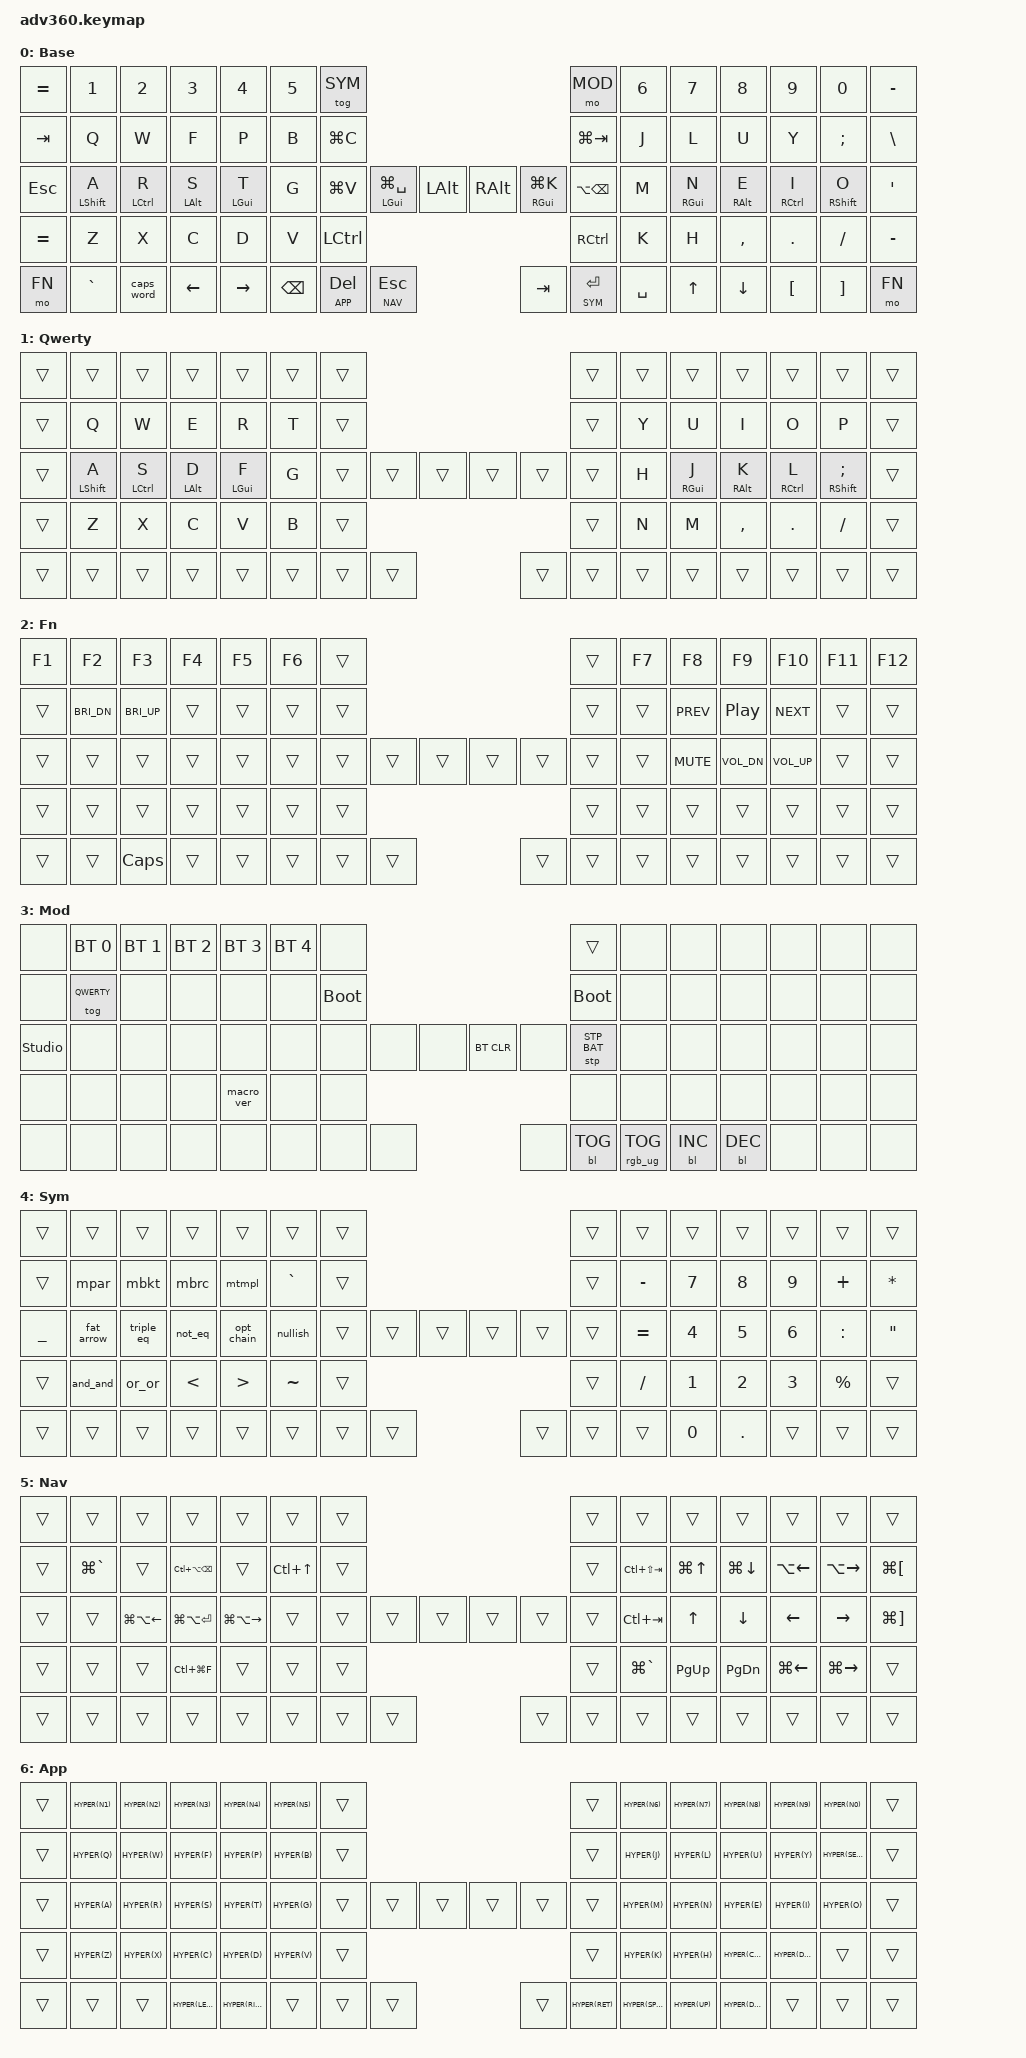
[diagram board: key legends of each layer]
#include <behaviors.dtsi>
#include <dt-bindings/zmk/keys.h>
#include <dt-bindings/zmk/bt.h>
#include <dt-bindings/zmk/rgb.h>
#include <dt-bindings/zmk/stp.h>
#include <dt-bindings/zmk/backlight.h>
#include <dt-bindings/zmk/pointing.h>

/* Layer indices. Kinesis layer LED colors follow the index. */
/* Mod stays at index 3 and Fn at 2, where the Kinesis firmware and manual put them.
 * Qwerty sits below every hold layer so Mod+Q can always toggle it off. */
#define BASE   0
#define QWERTY 1
#define FN     2
#define MOD    3
#define SYM    4
#define NAV    5
#define APP    6

#define ___ &trans
#define XXX &none

/* Window actions: Maximize is Rectangle's Cmd+Opt+Return; Full Screen is macOS's
 * native Ctrl+Cmd+F. Restore and display moves keep their existing shortcuts. */
#define WIN_MAX &kp LG(LA(RET))
#define WIN_FULLSCREEN &kp LC(LG(F))
#define WIN_RESTORE &kp LC(LA(BSPC))
#define WIN_PREV_DISPLAY &kp LG(LA(LEFT))
#define WIN_NEXT_DISPLAY &kp LG(LA(RIGHT))

/* Key position groups for positional hold-taps (assets/key-positions.md). */
#define KEYS_L 0 1 2 3 4 5 6 14 15 16 17 18 19 20 28 29 30 31 32 33 34 46 47 48 49 50 51 60 61 62 63 64
#define KEYS_R 7 8 9 10 11 12 13 21 22 23 24 25 26 27 39 40 41 42 43 44 45 54 55 56 57 58 59 71 72 73 74 75
#define THUMBS 35 36 37 38 52 53 65 66 67 68 69 70

/* Row layout per layer (key positions):
 *   0-6           | 7-13
 *   14-20         | 21-27
 *   28-34  35 36 37 38  39-45
 *   46-51  52 53        54-59
 *   60-64  65 66 67 68 69 70  71-75
 */

/ {
    behaviors {
      #include "macros.dtsi"
      #include "version.dtsi"
      #include "symbols.dtsi"

      /* Thumb layer keys: tap = key, hold = layer. Balanced so that
       * pressing and releasing another key during the hold picks the layer. */
      /* Cmd thumb keys (outer top on each side): hold = Cmd, tap = a Cmd shortcut. hold-while-undecided keeps
       * Cmd visible to macOS at once, so Cmd+click and Cmd+drag work. Linger keeps
       * one continuous Cmd press across the tap. */
      mtc: mod_tap_cmd {
          compatible = "zmk,behavior-hold-tap";
          #binding-cells = <2>;
          tapping-term-ms = <200>;
          quick-tap-ms = <175>;
          flavor = "hold-preferred";
          hold-while-undecided;
          hold-while-undecided-linger;
          bindings = <&kp>, <&kp>;
      };

      /* Home-row mods, "timeless" style: balanced flavor, long tapping term, and a hold only
       * triggers when the next key is on the other hand or a thumb. Same-hand rolls stay taps.
       * hml = a mod on the left hand (triggers on right-hand keys), hmr = the mirror. */
      hml: home_row_mod_left {
          compatible = "zmk,behavior-hold-tap";
          #binding-cells = <2>;
          flavor = "balanced";
          tapping-term-ms = <280>;
          quick-tap-ms = <175>;
          require-prior-idle-ms = <150>;
          hold-trigger-key-positions = <KEYS_R THUMBS>;
          hold-trigger-on-release;
          bindings = <&kp>, <&kp>;
      };

      hmr: home_row_mod_right {
          compatible = "zmk,behavior-hold-tap";
          #binding-cells = <2>;
          flavor = "balanced";
          tapping-term-ms = <280>;
          quick-tap-ms = <175>;
          require-prior-idle-ms = <150>;
          hold-trigger-key-positions = <KEYS_L THUMBS>;
          hold-trigger-on-release;
          bindings = <&kp>, <&kp>;
      };

      lth: layer_tap_hold {
          compatible = "zmk,behavior-hold-tap";
          #binding-cells = <2>;
          tapping-term-ms = <200>;
          quick-tap-ms = <175>;
          flavor = "balanced";
          bindings = <&mo>, <&kp>;
      };
    };

  keymap {
    compatible = "zmk,keymap";

    default_layer {
      display-name = "Base";
      bindings = <
        &kp EQUAL &kp N1    &kp N2     &kp N3   &kp N4    &kp N5 &tog SYM                                                                                  &mo MOD &kp N6 &kp N7 &kp N8    &kp N9   &kp N0   &kp MINUS
        &kp TAB   &kp Q     &kp W      &kp F    &kp P     &kp B  &kp LG(C)                                                                                      &kp LG(TAB) &kp J  &kp L  &kp U     &kp Y    &kp SEMI &kp BSLH
        &kp ESC   &hml LSHFT A &hml LCTRL R &hml LALT S &hml LGUI T &kp G  &kp LG(V)           &mtc LGUI LG(SPACE) &kp LALT      &kp RALT      &mtc RGUI LG(K)              &kp LA(BSPC) &kp M  &hmr RGUI N &hmr RALT E &hmr RCTRL I &hmr RSHFT O &kp SQT
        &kp EQUAL &kp Z     &kp X      &kp C    &kp D     &kp V                          &kp LCTRL                &kp RCTRL                                         &kp K  &kp H  &kp COMMA &kp DOT  &kp FSLH &kp MINUS
        &mo FN    &kp GRAVE &caps_word &kp LEFT &kp RIGHT               &kp BSPC &lth APP DEL &lth NAV ESC &kp TAB &lth SYM ENTER &kp SPACE                                &kp UP &kp DOWN  &kp LBKT &kp RBKT &mo FN
      >;
    };

    qwerty {
      display-name = "Qwerty";
      bindings = <
        ___ ___   ___   ___   ___   ___   ___                                                   ___ ___   ___   ___       ___     ___      ___
        ___ &kp Q &kp W &kp E &kp R &kp T ___                                                   ___ &kp Y &kp U &kp I     &kp O   &kp P    ___
        ___ &hml LSHFT A &hml LCTRL S &hml LALT D &hml LGUI F &kp G ___           ___ ___ ___ ___                         ___ &kp H &hmr RGUI J &hmr RALT K &hmr RCTRL L &hmr RSHFT SEMI ___
        ___ &kp Z &kp X &kp C &kp V &kp B                     ___ ___                               &kp N &kp M &kp COMMA &kp DOT &kp FSLH ___
        ___ ___   ___   ___   ___               ___ ___ ___ ___ ___ ___                                   ___   ___       ___     ___      ___
      >;
    };

    fn {
      display-name = "Fn";
      bindings = <
        &kp F1 &kp F2       &kp F3       &kp F4 &kp F5 &kp F6 ___                                                   ___ &kp F7     &kp F8       &kp F9       &kp F10 &kp F11 &kp F12
        ___    &kp C_BRI_DN &kp C_BRI_UP ___    ___    ___    ___                                                   ___ ___        &kp C_PREV   &kp C_PP     &kp C_NEXT ___  ___
        ___    ___          ___          ___    ___    ___    ___           ___ ___ ___ ___                         ___ ___        &kp C_MUTE   &kp C_VOL_DN &kp C_VOL_UP ___ ___
        ___    ___          ___          ___    ___    ___                        ___ ___                               ___        ___          ___          ___     ___     ___
        ___    ___          &kp CAPS     ___    ___                 ___ ___ ___ ___ ___ ___                                        ___          ___          ___     ___     ___
      >;
    };

    mod {
      display-name = "Mod";
      bindings = <
        &none &bt BT_SEL 0 &bt BT_SEL 1 &bt BT_SEL 2 &bt BT_SEL 3 &bt BT_SEL 4 &none                                                                     &trans                 &none        &none        &none        &none &none &none
        &none &tog QWERTY  &none        &none        &none        &none        &bootloader                                                               &bootloader            &none        &none        &none        &none &none &none
        &studio_unlock &none        &none        &none        &none        &none        &none                   &none &none &bt BT_CLR &none                      &stp STP_BAT &none        &none        &none        &none &none &none
        &none &none        &none        &none        &macro_ver   &none                                      &none &none                                                        &none        &none        &none        &none &none &none
        &none &none        &none        &none        &none                                       &none &none &none &none      &bl BL_TOG &rgb_ug RGB_TOG                                     &bl BL_INC   &bl BL_DEC   &none &none &none
      >;
    };

    sym {
      display-name = "Sym";
      bindings = <
        ___       ___        ___        ___     ___        ___       ___                                                   ___ ___       ___    ___    ___    ___       ___
        ___       &mpar      &mbkt      &mbrc   &mtmpl     &kp GRAVE ___                                                   ___ &kp MINUS &kp N7 &kp N8 &kp N9 &kp PLUS  &kp ASTRK
        &kp UNDER &fat_arrow &triple_eq &not_eq &opt_chain &nullish  ___           ___ ___ ___ ___                         ___ &kp EQUAL &kp N4 &kp N5 &kp N6 &kp COLON &kp DQT
        ___       &and_and   &or_or     &kp LT  &kp GT     &kp TILDE                    ___ ___                                &kp FSLH  &kp N1 &kp N2 &kp N3 &kp PRCNT ___
        ___       ___        ___        ___     ___                       ___ ___ ___ ___ ___ ___                                     &kp N0 &kp DOT ___   ___       ___
      >;
    };

    nav {
      display-name = "Nav";
      bindings = <
        ___ ___           ___        ___         ___        ___              ___                                                          ___ ___              ___          ___           ___          ___           ___
        ___ &kp LG(GRAVE) ___        WIN_RESTORE ___        &kp LC(UP)       ___                                                          ___ &kp LC(LS(TAB))  &kp LG(UP)   &kp LG(DOWN)  &kp LA(LEFT) &kp LA(RIGHT) &kp LG(LBKT)
        ___ ___           WIN_PREV_DISPLAY WIN_MAX    WIN_NEXT_DISPLAY ___    ___              ___ ___ ___ ___                             ___ &kp LC(TAB)      &kp UP       &kp DOWN      &kp LEFT     &kp RIGHT     &kp LG(RBKT)
        ___ ___           ___        WIN_FULLSCREEN ___        ___                                   ___ ___                                     &kp LG(GRAVE)    &kp PG_UP    &kp PG_DN     &kp LG(LEFT) &kp LG(RIGHT) ___
        ___ ___           ___        ___         ___                              ___ ___ ___ ___ ___ ___                                                      ___          ___           ___          ___           ___
      >;
    };

    app {
      display-name = "App";
      bindings = <
        ___ &kp HYPER(N1) &kp HYPER(N2) &kp HYPER(N3)   &kp HYPER(N4)    &kp HYPER(N5) ___                                                                 ___ &kp HYPER(N6) &kp HYPER(N7)   &kp HYPER(N8)    &kp HYPER(N9)   &kp HYPER(N0)   ___
        ___ &kp HYPER(Q)  &kp HYPER(W)  &kp HYPER(F)    &kp HYPER(P)     &kp HYPER(B)  ___                                                                 ___ &kp HYPER(J)  &kp HYPER(L)    &kp HYPER(U)     &kp HYPER(Y)    &kp HYPER(SEMI) ___
        ___ &kp HYPER(A)  &kp HYPER(R)  &kp HYPER(S)    &kp HYPER(T)     &kp HYPER(G)  ___            ___ ___ ___ ___                                      ___ &kp HYPER(M)  &kp HYPER(N)    &kp HYPER(E)     &kp HYPER(I)    &kp HYPER(O)    ___
        ___ &kp HYPER(Z)  &kp HYPER(X)  &kp HYPER(C)    &kp HYPER(D)     &kp HYPER(V)                      ___ ___                                             &kp HYPER(K)  &kp HYPER(H)    &kp HYPER(COMMA) &kp HYPER(DOT)  ___             ___
        ___ ___           ___           &kp HYPER(LEFT) &kp HYPER(RIGHT)                ___ ___ ___ ___ &kp HYPER(RET) &kp HYPER(SPACE)                        &kp HYPER(UP) &kp HYPER(DOWN) ___              ___             ___
      >;
    };

    extra1 {
      display-name = "Red";
      status = "reserved";
    };

    extra2 {
      display-name = "Purple";
      status = "reserved";
    };

    extra3 {
      display-name = "Cyan";
      status = "reserved";
    };

    extra4 {
      display-name = "Yellow";
      status = "reserved";
    };
  };
};
